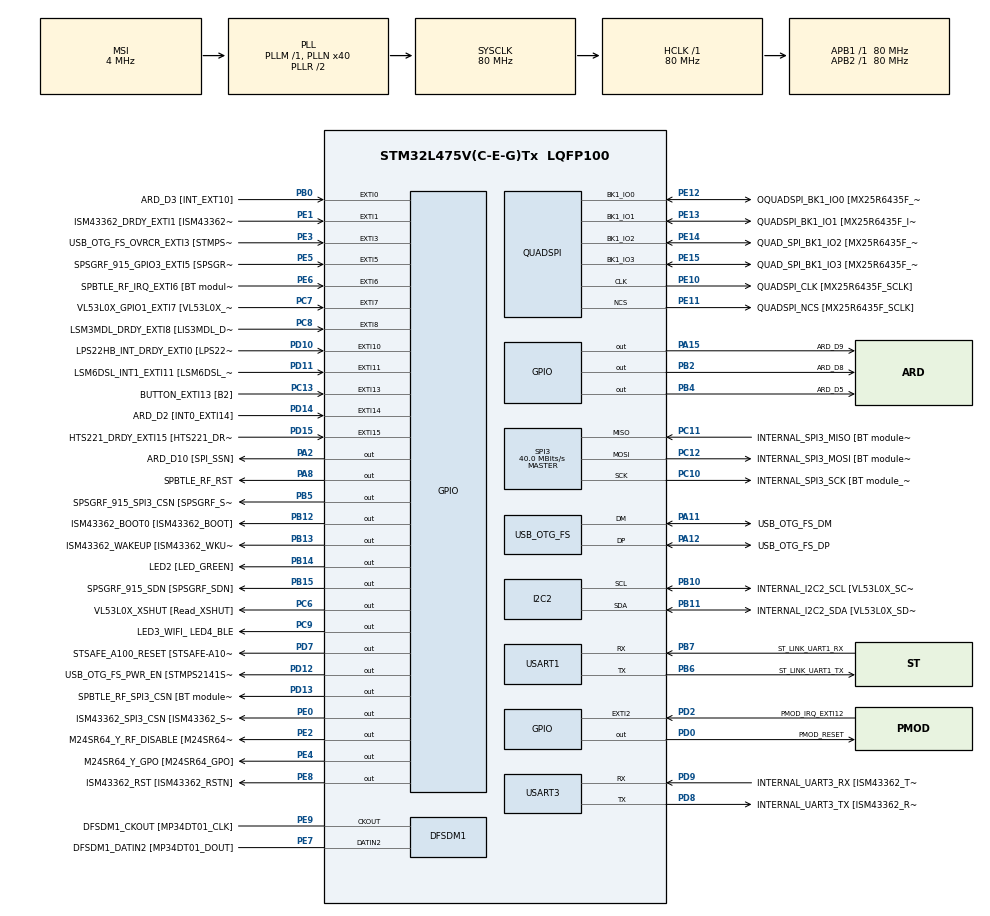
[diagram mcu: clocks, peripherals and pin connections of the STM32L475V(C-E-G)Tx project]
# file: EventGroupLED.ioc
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FREERTOS.Tasks01=defaultTask,-3,128,StartDefaultTask,Default,NULL,Dynamic,NULL,NULL;myTask02,-3,128,StartTask02,Default,NULL,Dynamic,NULL,NULL;myTask03,-3,128,StartTask03,Default,NULL,Dynamic,NULL,NULL
FREERTOS.configUSE_NEWLIB_REENTRANT=1
FREERTOS.configUSE_TIMERS=1
Mcu.Family=STM32L4
Mcu.Name=STM32L475V(C-E-G)Tx
Mcu.Package=LQFP100
NVIC.EXTI15_10_IRQn=true\:5\:0\:false\:false\:true\:true\:true\:true\:true
NVIC.EXTI9_5_IRQn=true\:5\:0\:false\:false\:true\:true\:true\:true\:true
NVIC.PriorityGroup=NVIC_PRIORITYGROUP_4
NVIC.TIM1_UP_TIM16_IRQn=true\:15\:0\:false\:false\:true\:false\:false\:true\:true
NVIC.TimeBase=TIM1_UP_TIM16_IRQn
NVIC.TimeBaseIP=TIM1
PA0.GPIO_Label=ARD_D1 [UART4_TX]
PA0.Signal=UART4_TX
PA1.GPIO_Label=ARD_D0 [UART4_RX]
PA1.Signal=UART4_RX
PA10.GPIO_Label=USB_OTG_FS_ID
PA10.Signal=USB_OTG_FS_ID
PA11.GPIO_Label=USB_OTG_FS_DM
PA11.Mode=Device_Only
PA11.Signal=USB_OTG_FS_DM
PA12.GPIO_Label=USB_OTG_FS_DP
PA12.Mode=Device_Only
PA12.Signal=USB_OTG_FS_DP
PA13\ (JTMS-SWDIO).GPIO_Label=SYS_JTMS_SWDIO
PA13\ (JTMS-SWDIO).Mode=Serial_Wire
PA13\ (JTMS-SWDIO).Signal=SYS_JTMS-SWDIO
PA14\ (JTCK-SWCLK).GPIO_Label=SYS_JTCK_SWCLK
PA14\ (JTCK-SWCLK).Mode=Serial_Wire
PA14\ (JTCK-SWCLK).Signal=SYS_JTCK-SWCLK
PA15\ (JTDI).GPIO_Label=ARD_D9
PA15\ (JTDI).Signal=GPIO_Output
PA2.GPIO_Label=ARD_D10 [SPI_SSN]
PA2.Signal=GPIO_Output
PA3.GPIO_Label=ARD_D4
PA3.Signal=S_TIM2_CH4
PA4.GPIO_Label=ARD_D7
PA4.Signal=ADCx_IN9
PA5.GPIO_Label=ARD_D13 [SPI1_SCK]
PA5.Signal=SPI1_SCK
PA6.GPIO_Label=ARD_D12 [SPI1_MISO]
PA6.Signal=SPI1_MISO
PA7.GPIO_Label=ARD_D11 [SPI1_MOSI]
PA7.Signal=SPI1_MOSI
PA8.GPIO_Label=SPBTLE_RF_RST
PA8.Signal=GPIO_Output
PA9.GPIO_Label=USB_OTG_FS_VBUS [STMPS2141STR_OUT]
PA9.Signal=USB_OTG_FS_VBUS
PB0.GPIO_Label=ARD_D3 [INT_EXT10]
PB0.Signal=GPXTI0
PB1.GPIO_Label=ARD_D6 [ADC1_IN6]
PB1.Signal=ADCx_IN16
PB10.GPIO_Label=INTERNAL_I2C2_SCL [VL53L0X_SCL]
PB10.GPIO_Pu=GPIO_PULLUP
PB10.Mode=I2C
PB10.Signal=I2C2_SCL
PB11.GPIO_Label=INTERNAL_I2C2_SDA [VL53L0X_SDA]
PB11.GPIO_Pu=GPIO_PULLUP
PB11.Mode=I2C
PB11.Signal=I2C2_SDA
PB12.GPIO_Label=ISM43362_BOOT0 [ISM43362_BOOT]
PB12.Signal=GPIO_Output
PB13.GPIO_Label=ISM43362_WAKEUP [ISM43362_WKUP]
PB13.Signal=GPIO_Output
PB14.GPIO_Label=LED2 [LED_GREEN]
PB14.Signal=GPIO_Output
PB15.GPIO_Label=SPSGRF_915_SDN [SPSGRF_SDN]
PB15.Signal=GPIO_Output
PB2.GPIO_Label=ARD_D8
PB2.Signal=GPIO_Output
PB3\ (JTDO-TRACESWO).GPIO_Label=SYS_JTD0_SWO
PB3\ (JTDO-TRACESWO).Signal=SYS_JTDO-SWO
PB4\ (NJTRST).GPIO_Label=ARD_D5
PB4\ (NJTRST).Signal=GPIO_Output
PB5.GPIO_Label=SPSGRF_915_SPI3_CSN [SPSGRF_SPI_CS]
PB5.PinState=GPIO_PIN_SET
PB5.Signal=GPIO_Output
PB6.GPIO_Label=ST_LINK_UART1_TX
PB6.Mode=Asynchronous
PB6.Signal=USART1_TX
PB7.GPIO_Label=ST_LINK_UART1_RX
PB7.Mode=Asynchronous
PB7.Signal=USART1_RX
PB8.GPIO_Label=ARD_D15 [I2C1_SCL]
PB8.Signal=I2C1_SCL
PB9.GPIO_Label=ARD_D14 [I2C1_SDA]
PB9.Signal=I2C1_SDA
PC0.GPIO_Label=ARD_A5 [ADC]
PC0.Signal=ADCx_IN1
PC1.GPIO_Label=ARD_A4 [ADC]
PC1.Signal=ADCx_IN2
PC10.GPIO_Label=INTERNAL_SPI3_SCK [BT module_SPI_SCLK] [ISM43362_SCK]
PC10.Mode=Full_Duplex_Master
PC10.Signal=SPI3_SCK
PC11.GPIO_Label=INTERNAL_SPI3_MISO [BT module_SPI_MISO] [ISM43362_MISO]
PC11.Mode=Full_Duplex_Master
PC11.Signal=SPI3_MISO
PC12.GPIO_Label=INTERNAL_SPI3_MOSI [BT module_SPI_MOSI] [ISM43362_MOSI]
PC12.Mode=Full_Duplex_Master
PC12.Signal=SPI3_MOSI
PC13.GPIO_Label=BUTTON_EXTI13 [B2]
PC13.GPIO_ModeDefaultEXTI=GPIO_MODE_IT_FALLING
PC13.Signal=GPXTI13
PC14-OSC32_IN\ (PC14).Mode=LSE-External-Oscillator
PC14-OSC32_IN\ (PC14).Signal=RCC_OSC32_IN
PC15-OSC32_OUT\ (PC15).Mode=LSE-External-Oscillator
PC15-OSC32_OUT\ (PC15).Signal=RCC_OSC32_OUT
PC2.GPIO_Label=ARD_A3 [ADC]
PC2.Signal=ADCx_IN3
PC3.GPIO_Label=ARD_A2 [ADC]
PC3.Signal=ADCx_IN4
PC4.GPIO_Label=ARD_A1 [ADC]
PC4.Signal=ADCx_IN13
PC5.GPIO_Label=ARD_A0 [ADC]
PC5.Signal=ADCx_IN14
PC6.GPIO_Label=VL53L0X_XSHUT [Read_XSHUT]
PC6.Signal=GPIO_Output
PC7.GPIO_Label=VL53L0X_GPIO1_EXTI7 [VL53L0X_GPIO1]
PC7.Signal=GPXTI7
PC8.GPIO_Label=LSM3MDL_DRDY_EXTI8 [LIS3MDL_DRDY]
PC8.Signal=GPXTI8
PC9.GPIO_Label=LED3_WIFI_ LED4_BLE
PC9.Signal=GPIO_Output
PD0.GPIO_Label=PMOD_RESET
PD0.Signal=GPIO_Output
PD1.GPIO_Label=PMOD_SPI2_SCK
PD1.Signal=SPI2_SCK
PD10.GPIO_Label=LPS22HB_INT_DRDY_EXTI0 [LPS22HB_INT_DRDY] 
PD10.Signal=GPXTI10
PD11.GPIO_Label=LSM6DSL_INT1_EXTI11 [LSM6DSL_INT1]
PD11.Signal=GPXTI11
PD12.GPIO_Label=USB_OTG_FS_PWR_EN [STMPS2141STR_EN]
PD12.Signal=GPIO_Output
PD13.GPIO_Label=SPBTLE_RF_SPI3_CSN [BT module_SPI_CS]
PD13.PinState=GPIO_PIN_SET
PD13.Signal=GPIO_Output
PD14.GPIO_Label=ARD_D2 [INT0_EXTI14]
PD14.Signal=GPXTI14
PD15.GPIO_Label=HTS221_DRDY_EXTI15 [HTS221_DRDY]
PD15.Signal=GPXTI15
PD2.GPIO_Label=PMOD_IRQ_EXTI12
PD2.Signal=GPXTI2
PD3.GPIO_Label=PMOD_UART2_CTS
PD3.Signal=USART2_CTS
PD4.GPIO_Label=PMOD_UART2_RTS
PD4.Signal=USART2_RTS
PD5.GPIO_Label=PMOD_UART2_TX
PD5.Signal=USART2_TX
PD6.GPIO_Label=PMOD_UART2_RX
PD6.Signal=USART2_RX
PD7.GPIO_Label=STSAFE_A100_RESET [STSAFE-A100_RESET]
PD7.Signal=GPIO_Output
PD8.GPIO_Label=INTERNAL_UART3_TX [ISM43362_RX]
PD8.Mode=Asynchronous
PD8.Signal=USART3_TX
PD9.GPIO_Label=INTERNAL_UART3_RX [ISM43362_TX]
PD9.Mode=Asynchronous
PD9.Signal=USART3_RX
PE0.GPIO_Label=ISM43362_SPI3_CSN [ISM43362_SSN]
PE0.PinState=GPIO_PIN_SET
PE0.Signal=GPIO_Output
PE1.GPIO_Label=ISM43362_DRDY_EXTI1 [ISM43362_DATARDY]
PE1.Signal=GPXTI1
PE10.GPIO_Label=QUADSPI_CLK [MX25R6435F_SCLK]
PE10.Mode=Single Bank
PE10.Signal=QUADSPI_CLK
PE11.GPIO_Label=QUADSPI_NCS [MX25R6435F_SCLK]
PE11.Mode=Single Bank
PE11.Signal=QUADSPI_NCS
PE12.GPIO_Label=OQUADSPI_BK1_IO0 [MX25R6435F_IO0]
PE12.Mode=Single Bank
PE12.Signal=QUADSPI_BK1_IO0
PE13.GPIO_Label=QUADSPI_BK1_IO1 [MX25R6435F_IO1]
PE13.Mode=Single Bank
PE13.Signal=QUADSPI_BK1_IO1
PE14.GPIO_Label=QUAD_SPI_BK1_IO2 [MX25R6435F_IO2]
PE14.Mode=Single Bank
PE14.Signal=QUADSPI_BK1_IO2
PE15.GPIO_Label=QUAD_SPI_BK1_IO3 [MX25R6435F_IO3]
PE15.Mode=Single Bank
PE15.Signal=QUADSPI_BK1_IO3
PE2.GPIO_Label=M24SR64_Y_RF_DISABLE [M24SR64_RFDIS]
PE2.Signal=GPIO_Output
PE3.GPIO_Label=USB_OTG_FS_OVRCR_EXTI3 [STMPS2141STR_FAULT]
PE3.Signal=GPXTI3
PE4.GPIO_Label=M24SR64_Y_GPO [M24SR64_GPO]
PE4.Signal=GPIO_Output
PE5.GPIO_Label=SPSGRF_915_GPIO3_EXTI5 [SPSGRF_GPIO_3]
PE5.Signal=GPXTI5
PE6.GPIO_Label=SPBTLE_RF_IRQ_EXTI6 [BT module_SPI_IRQ]
PE6.Signal=GPXTI6
PE7.GPIO_Label=DFSDM1_DATIN2 [MP34DT01_DOUT]
PE7.Signal=S_DATAIN2DFSDM1
PE8.GPIO_Label=ISM43362_RST [ISM43362_RSTN]
PE8.Signal=GPIO_Output
PE9.GPIO_Label=DFSDM1_CKOUT [MP34DT01_CLK]
PE9.Signal=S_CKOUTDFSDM1
ProjectManager.HeapSize=0x200
ProjectManager.StackSize=0x400
ProjectManager.TargetToolchain=STM32CubeIDE
QUADSPI.ClockPrescaler=2
QUADSPI.FifoThreshold=4
QUADSPI.FlashSize=23
QUADSPI.SampleShifting=QSPI_SAMPLE_SHIFTING_HALFCYCLE
RCC.ADCFreq_Value=48000000
RCC.AHBFreq_Value=80000000
RCC.APB1Freq_Value=80000000
RCC.APB1TimFreq_Value=80000000
RCC.APB2Freq_Value=80000000
RCC.APB2TimFreq_Value=80000000
RCC.CortexFreq_Value=80000000
RCC.HCLKFreq_Value=80000000
RCC.HSE_VALUE=8000000
RCC.HSI_VALUE=16000000
RCC.MSI_VALUE=4000000
RCC.PLLN=40
RCC.PLLSAI1N=24
RCC.SYSCLKFreq_VALUE=80000000
RCC.SYSCLKSource=RCC_SYSCLKSOURCE_PLLCLK
RCC.USBFreq_Value=48000000
RCC.VCOOutputFreq_Value=160000000
SH.ADCx_IN1.0=ADC1_IN1
SH.ADCx_IN13.0=ADC1_IN13
SH.ADCx_IN14.0=ADC1_IN14
SH.ADCx_IN16.0=ADC1_IN16
SH.ADCx_IN2.0=ADC1_IN2
SH.ADCx_IN3.0=ADC1_IN3
SH.ADCx_IN4.0=ADC1_IN4
SH.ADCx_IN9.0=ADC1_IN9
SH.S_CKOUTDFSDM1.0=DFSDM1_CKOUT,CKOUT
SH.S_CKOUTDFSDM1.1=DFSDM1_CKOUT,PDM_SPI_Input_from_ch12_and_Internal_Clock
SH.S_DATAIN2DFSDM1.0=DFSDM1_DATIN2,PDM_SPI_Input_from_ch12_and_Internal_Clock
SH.S_TIM2_CH4.0=TIM2_CH4
SPI3.CalculateBaudRate=40.0 MBits/s
SPI3.Direction=SPI_DIRECTION_2LINES
SPI3.Mode=SPI_MODE_MASTER
SPI3.VirtualType=VM_MASTER
USART1.VirtualMode-Asynchronous=VM_ASYNC
USART3.VirtualMode-Asynchronous=VM_ASYNC
USB_OTG_FS.VirtualMode=Device_Only
VP_FREERTOS_VS_CMSIS_V1.Mode=CMSIS_V1
VP_SYS_VS_tim1.Mode=TIM1
board=B-L475E-IOT01A2

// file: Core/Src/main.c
/* USER CODE BEGIN Header */
/**
  ******************************************************************************
  * @file           : main.c
  * @brief          : Main program body
  ******************************************************************************
  * @attention
  *
  * Copyright (c) 2023 STMicroelectronics.
  * All rights reserved.
  *
  * This software is licensed under terms that can be found in the LICENSE file
  * in the root directory of this software component.
  * If no LICENSE file comes with this software, it is provided AS-IS.
  *
  ******************************************************************************
  */
/* USER CODE END Header */
#include "main.h"
#include "cmsis_os.h"

DFSDM_Channel_HandleTypeDef hdfsdm1_channel1;

I2C_HandleTypeDef hi2c2;

QSPI_HandleTypeDef hqspi;

SPI_HandleTypeDef hspi3;

UART_HandleTypeDef huart1;
UART_HandleTypeDef huart3;

PCD_HandleTypeDef hpcd_USB_OTG_FS;

osThreadId defaultTaskHandle;
osThreadId myTask02Handle;
osThreadId myTask03Handle;
/* USER CODE BEGIN PV */
#define mainDEFAULT_BIT 	(1UL << 0UL)
#define mainTASK_BIT_1 		(1UL << 1UL)

EventGroupHandle_t	xEventGroup;
/* USER CODE END PV */

void SystemClock_Config(void);
static void MX_GPIO_Init(void);
static void MX_DFSDM1_Init(void);
static void MX_I2C2_Init(void);
static void MX_QUADSPI_Init(void);
static void MX_SPI3_Init(void);
static void MX_USART1_UART_Init(void);
static void MX_USART3_UART_Init(void);
static void MX_USB_OTG_FS_PCD_Init(void);
void StartDefaultTask(void const * argument);
void StartTask02(void const * argument);
void StartTask03(void const * argument);

int main(void)
{

  /* MCU Configuration--------------------------------------------------------*/

  /* Reset of all peripherals, Initializes the Flash interface and the Systick. */
  HAL_Init();

  /* Configure the system clock */
  SystemClock_Config();

  /* Initialize all configured peripherals */
  MX_GPIO_Init();
  MX_DFSDM1_Init();
  MX_I2C2_Init();
  MX_QUADSPI_Init();
  MX_SPI3_Init();
  MX_USART1_UART_Init();
  MX_USART3_UART_Init();
  MX_USB_OTG_FS_PCD_Init();
  /* USER CODE BEGIN 2 */
  xEventGroup = xEventGroupCreate();
  /* USER CODE END 2 */

  /* Create the thread(s) */
  /* definition and creation of defaultTask */
  osThreadDef(defaultTask, StartDefaultTask, osPriorityIdle, 0, 128);
  defaultTaskHandle = osThreadCreate(osThread(defaultTask), NULL);

  /* definition and creation of myTask02 */
  osThreadDef(myTask02, StartTask02, osPriorityIdle, 0, 128);
  myTask02Handle = osThreadCreate(osThread(myTask02), NULL);

  /* definition and creation of myTask03 */
  osThreadDef(myTask03, StartTask03, osPriorityIdle, 0, 128);
  myTask03Handle = osThreadCreate(osThread(myTask03), NULL);

  /* Start scheduler */
  osKernelStart();
  /* We should never get here as control is now taken by the scheduler */
  /* Infinite loop */
  while (1)
  {

  }
}

void SystemClock_Config(void)
{
  RCC_OscInitTypeDef RCC_OscInitStruct = {0};
  RCC_ClkInitTypeDef RCC_ClkInitStruct = {0};

  /** Configure the main internal regulator output voltage
  */
  if (HAL_PWREx_ControlVoltageScaling(PWR_REGULATOR_VOLTAGE_SCALE1) != HAL_OK)
  {
    Error_Handler();
  }

  /** Configure LSE Drive Capability
  */
  HAL_PWR_EnableBkUpAccess();
  __HAL_RCC_LSEDRIVE_CONFIG(RCC_LSEDRIVE_LOW);

  /** Initializes the RCC Oscillators according to the specified parameters
  * in the RCC_OscInitTypeDef structure.
  */
  RCC_OscInitStruct.OscillatorType = RCC_OSCILLATORTYPE_LSE|RCC_OSCILLATORTYPE_MSI;
  RCC_OscInitStruct.LSEState = RCC_LSE_ON;
  RCC_OscInitStruct.MSIState = RCC_MSI_ON;
  RCC_OscInitStruct.MSICalibrationValue = 0;
  RCC_OscInitStruct.MSIClockRange = RCC_MSIRANGE_6;
  RCC_OscInitStruct.PLL.PLLState = RCC_PLL_ON;
  RCC_OscInitStruct.PLL.PLLSource = RCC_PLLSOURCE_MSI;
  RCC_OscInitStruct.PLL.PLLM = 1;
  RCC_OscInitStruct.PLL.PLLN = 40;
  RCC_OscInitStruct.PLL.PLLP = RCC_PLLP_DIV7;
  RCC_OscInitStruct.PLL.PLLQ = RCC_PLLQ_DIV2;
  RCC_OscInitStruct.PLL.PLLR = RCC_PLLR_DIV2;
  if (HAL_RCC_OscConfig(&RCC_OscInitStruct) != HAL_OK)
  {
    Error_Handler();
  }

  /** Initializes the CPU, AHB and APB buses clocks
  */
  RCC_ClkInitStruct.ClockType = RCC_CLOCKTYPE_HCLK|RCC_CLOCKTYPE_SYSCLK
                              |RCC_CLOCKTYPE_PCLK1|RCC_CLOCKTYPE_PCLK2;
  RCC_ClkInitStruct.SYSCLKSource = RCC_SYSCLKSOURCE_PLLCLK;
  RCC_ClkInitStruct.AHBCLKDivider = RCC_SYSCLK_DIV1;
  RCC_ClkInitStruct.APB1CLKDivider = RCC_HCLK_DIV1;
  RCC_ClkInitStruct.APB2CLKDivider = RCC_HCLK_DIV1;

  if (HAL_RCC_ClockConfig(&RCC_ClkInitStruct, FLASH_LATENCY_4) != HAL_OK)
  {
    Error_Handler();
  }

  /** Enable MSI Auto calibration
  */
  HAL_RCCEx_EnableMSIPLLMode();
}

static void MX_DFSDM1_Init(void)
{

  hdfsdm1_channel1.Instance = DFSDM1_Channel1;
  hdfsdm1_channel1.Init.OutputClock.Activation = ENABLE;
  hdfsdm1_channel1.Init.OutputClock.Selection = DFSDM_CHANNEL_OUTPUT_CLOCK_SYSTEM;
  hdfsdm1_channel1.Init.OutputClock.Divider = 2;
  hdfsdm1_channel1.Init.Input.Multiplexer = DFSDM_CHANNEL_EXTERNAL_INPUTS;
  hdfsdm1_channel1.Init.Input.DataPacking = DFSDM_CHANNEL_STANDARD_MODE;
  hdfsdm1_channel1.Init.Input.Pins = DFSDM_CHANNEL_FOLLOWING_CHANNEL_PINS;
  hdfsdm1_channel1.Init.SerialInterface.Type = DFSDM_CHANNEL_SPI_RISING;
  hdfsdm1_channel1.Init.SerialInterface.SpiClock = DFSDM_CHANNEL_SPI_CLOCK_INTERNAL;
  hdfsdm1_channel1.Init.Awd.FilterOrder = DFSDM_CHANNEL_FASTSINC_ORDER;
  hdfsdm1_channel1.Init.Awd.Oversampling = 1;
  hdfsdm1_channel1.Init.Offset = 0;
  hdfsdm1_channel1.Init.RightBitShift = 0x00;
  if (HAL_DFSDM_ChannelInit(&hdfsdm1_channel1) != HAL_OK)
  {
    Error_Handler();
  }

}

static void MX_I2C2_Init(void)
{

  hi2c2.Instance = I2C2;
  hi2c2.Init.Timing = 0x00000E14;
  hi2c2.Init.OwnAddress1 = 0;
  hi2c2.Init.AddressingMode = I2C_ADDRESSINGMODE_7BIT;
  hi2c2.Init.DualAddressMode = I2C_DUALADDRESS_DISABLE;
  hi2c2.Init.OwnAddress2 = 0;
  hi2c2.Init.OwnAddress2Masks = I2C_OA2_NOMASK;
  hi2c2.Init.GeneralCallMode = I2C_GENERALCALL_DISABLE;
  hi2c2.Init.NoStretchMode = I2C_NOSTRETCH_DISABLE;
  if (HAL_I2C_Init(&hi2c2) != HAL_OK)
  {
    Error_Handler();
  }

  /** Configure Analogue filter
  */
  if (HAL_I2CEx_ConfigAnalogFilter(&hi2c2, I2C_ANALOGFILTER_ENABLE) != HAL_OK)
  {
    Error_Handler();
  }

  /** Configure Digital filter
  */
  if (HAL_I2CEx_ConfigDigitalFilter(&hi2c2, 0) != HAL_OK)
  {
    Error_Handler();
  }

}

static void MX_QUADSPI_Init(void)
{

  /* QUADSPI parameter configuration*/
  hqspi.Instance = QUADSPI;
  hqspi.Init.ClockPrescaler = 2;
  hqspi.Init.FifoThreshold = 4;
  hqspi.Init.SampleShifting = QSPI_SAMPLE_SHIFTING_HALFCYCLE;
  hqspi.Init.FlashSize = 23;
  hqspi.Init.ChipSelectHighTime = QSPI_CS_HIGH_TIME_1_CYCLE;
  hqspi.Init.ClockMode = QSPI_CLOCK_MODE_0;
  if (HAL_QSPI_Init(&hqspi) != HAL_OK)
  {
    Error_Handler();
  }

}

static void MX_SPI3_Init(void)
{

  /* SPI3 parameter configuration*/
  hspi3.Instance = SPI3;
  hspi3.Init.Mode = SPI_MODE_MASTER;
  hspi3.Init.Direction = SPI_DIRECTION_2LINES;
  hspi3.Init.DataSize = SPI_DATASIZE_4BIT;
  hspi3.Init.CLKPolarity = SPI_POLARITY_LOW;
  hspi3.Init.CLKPhase = SPI_PHASE_1EDGE;
  hspi3.Init.NSS = SPI_NSS_SOFT;
  hspi3.Init.BaudRatePrescaler = SPI_BAUDRATEPRESCALER_2;
  hspi3.Init.FirstBit = SPI_FIRSTBIT_MSB;
  hspi3.Init.TIMode = SPI_TIMODE_DISABLE;
  hspi3.Init.CRCCalculation = SPI_CRCCALCULATION_DISABLE;
  hspi3.Init.CRCPolynomial = 7;
  hspi3.Init.CRCLength = SPI_CRC_LENGTH_DATASIZE;
  hspi3.Init.NSSPMode = SPI_NSS_PULSE_ENABLE;
  if (HAL_SPI_Init(&hspi3) != HAL_OK)
  {
    Error_Handler();
  }

}

static void MX_USART1_UART_Init(void)
{

  huart1.Instance = USART1;
  huart1.Init.BaudRate = 115200;
  huart1.Init.WordLength = UART_WORDLENGTH_8B;
  huart1.Init.StopBits = UART_STOPBITS_1;
  huart1.Init.Parity = UART_PARITY_NONE;
  huart1.Init.Mode = UART_MODE_TX_RX;
  huart1.Init.HwFlowCtl = UART_HWCONTROL_NONE;
  huart1.Init.OverSampling = UART_OVERSAMPLING_16;
  huart1.Init.OneBitSampling = UART_ONE_BIT_SAMPLE_DISABLE;
  huart1.AdvancedInit.AdvFeatureInit = UART_ADVFEATURE_NO_INIT;
  if (HAL_UART_Init(&huart1) != HAL_OK)
  {
    Error_Handler();
  }

}

static void MX_USART3_UART_Init(void)
{

  huart3.Instance = USART3;
  huart3.Init.BaudRate = 115200;
  huart3.Init.WordLength = UART_WORDLENGTH_8B;
  huart3.Init.StopBits = UART_STOPBITS_1;
  huart3.Init.Parity = UART_PARITY_NONE;
  huart3.Init.Mode = UART_MODE_TX_RX;
  huart3.Init.HwFlowCtl = UART_HWCONTROL_NONE;
  huart3.Init.OverSampling = UART_OVERSAMPLING_16;
  huart3.Init.OneBitSampling = UART_ONE_BIT_SAMPLE_DISABLE;
  huart3.AdvancedInit.AdvFeatureInit = UART_ADVFEATURE_NO_INIT;
  if (HAL_UART_Init(&huart3) != HAL_OK)
  {
    Error_Handler();
  }

}

static void MX_USB_OTG_FS_PCD_Init(void)
{

  hpcd_USB_OTG_FS.Instance = USB_OTG_FS;
  hpcd_USB_OTG_FS.Init.dev_endpoints = 6;
  hpcd_USB_OTG_FS.Init.speed = PCD_SPEED_FULL;
  hpcd_USB_OTG_FS.Init.phy_itface = PCD_PHY_EMBEDDED;
  hpcd_USB_OTG_FS.Init.Sof_enable = DISABLE;
  hpcd_USB_OTG_FS.Init.low_power_enable = DISABLE;
  hpcd_USB_OTG_FS.Init.lpm_enable = DISABLE;
  hpcd_USB_OTG_FS.Init.battery_charging_enable = DISABLE;
  hpcd_USB_OTG_FS.Init.use_dedicated_ep1 = DISABLE;
  hpcd_USB_OTG_FS.Init.vbus_sensing_enable = DISABLE;
  if (HAL_PCD_Init(&hpcd_USB_OTG_FS) != HAL_OK)
  {
    Error_Handler();
  }

}

static void MX_GPIO_Init(void)
{
  GPIO_InitTypeDef GPIO_InitStruct = {0};

  /* GPIO Ports Clock Enable */
  __HAL_RCC_GPIOE_CLK_ENABLE();
  __HAL_RCC_GPIOC_CLK_ENABLE();
  __HAL_RCC_GPIOA_CLK_ENABLE();
  __HAL_RCC_GPIOB_CLK_ENABLE();
  __HAL_RCC_GPIOD_CLK_ENABLE();

  /*Configure GPIO pin Output Level */
  HAL_GPIO_WritePin(GPIOE, M24SR64_Y_RF_DISABLE_Pin|M24SR64_Y_GPO_Pin|ISM43362_RST_Pin, GPIO_PIN_RESET);

  /*Configure GPIO pin Output Level */
  HAL_GPIO_WritePin(GPIOA, ARD_D10_Pin|SPBTLE_RF_RST_Pin|ARD_D9_Pin, GPIO_PIN_RESET);

  /*Configure GPIO pin Output Level */
  HAL_GPIO_WritePin(GPIOB, ARD_D8_Pin|ISM43362_BOOT0_Pin|ISM43362_WAKEUP_Pin|LED2_Pin
                          |SPSGRF_915_SDN_Pin|ARD_D5_Pin, GPIO_PIN_RESET);

  /*Configure GPIO pin Output Level */
  HAL_GPIO_WritePin(GPIOD, USB_OTG_FS_PWR_EN_Pin|PMOD_RESET_Pin|STSAFE_A100_RESET_Pin, GPIO_PIN_RESET);

  /*Configure GPIO pin Output Level */
  HAL_GPIO_WritePin(SPBTLE_RF_SPI3_CSN_GPIO_Port, SPBTLE_RF_SPI3_CSN_Pin, GPIO_PIN_SET);

  /*Configure GPIO pin Output Level */
  HAL_GPIO_WritePin(GPIOC, VL53L0X_XSHUT_Pin|LED3_WIFI__LED4_BLE_Pin, GPIO_PIN_RESET);

  /*Configure GPIO pin Output Level */
  HAL_GPIO_WritePin(SPSGRF_915_SPI3_CSN_GPIO_Port, SPSGRF_915_SPI3_CSN_Pin, GPIO_PIN_SET);

  /*Configure GPIO pin Output Level */
  HAL_GPIO_WritePin(ISM43362_SPI3_CSN_GPIO_Port, ISM43362_SPI3_CSN_Pin, GPIO_PIN_SET);

  /*Configure GPIO pins : M24SR64_Y_RF_DISABLE_Pin M24SR64_Y_GPO_Pin ISM43362_RST_Pin ISM43362_SPI3_CSN_Pin */
  GPIO_InitStruct.Pin = M24SR64_Y_RF_DISABLE_Pin|M24SR64_Y_GPO_Pin|ISM43362_RST_Pin|ISM43362_SPI3_CSN_Pin;
  GPIO_InitStruct.Mode = GPIO_MODE_OUTPUT_PP;
  GPIO_InitStruct.Pull = GPIO_NOPULL;
  GPIO_InitStruct.Speed = GPIO_SPEED_FREQ_LOW;
  HAL_GPIO_Init(GPIOE, &GPIO_InitStruct);

  /*Configure GPIO pins : USB_OTG_FS_OVRCR_EXTI3_Pin SPSGRF_915_GPIO3_EXTI5_Pin SPBTLE_RF_IRQ_EXTI6_Pin ISM43362_DRDY_EXTI1_Pin */
  GPIO_InitStruct.Pin = USB_OTG_FS_OVRCR_EXTI3_Pin|SPSGRF_915_GPIO3_EXTI5_Pin|SPBTLE_RF_IRQ_EXTI6_Pin|ISM43362_DRDY_EXTI1_Pin;
  GPIO_InitStruct.Mode = GPIO_MODE_IT_RISING;
  GPIO_InitStruct.Pull = GPIO_NOPULL;
  HAL_GPIO_Init(GPIOE, &GPIO_InitStruct);

  /*Configure GPIO pin : BUTTON_EXTI13_Pin */
  GPIO_InitStruct.Pin = BUTTON_EXTI13_Pin;
  GPIO_InitStruct.Mode = GPIO_MODE_IT_FALLING;
  GPIO_InitStruct.Pull = GPIO_NOPULL;
  HAL_GPIO_Init(BUTTON_EXTI13_GPIO_Port, &GPIO_InitStruct);

  /*Configure GPIO pins : ARD_A5_Pin ARD_A4_Pin ARD_A3_Pin ARD_A2_Pin
                           ARD_A1_Pin ARD_A0_Pin */
  GPIO_InitStruct.Pin = ARD_A5_Pin|ARD_A4_Pin|ARD_A3_Pin|ARD_A2_Pin
                          |ARD_A1_Pin|ARD_A0_Pin;
  GPIO_InitStruct.Mode = GPIO_MODE_ANALOG_ADC_CONTROL;
  GPIO_InitStruct.Pull = GPIO_NOPULL;
  HAL_GPIO_Init(GPIOC, &GPIO_InitStruct);

  /*Configure GPIO pins : ARD_D1_Pin ARD_D0_Pin */
  GPIO_InitStruct.Pin = ARD_D1_Pin|ARD_D0_Pin;
  GPIO_InitStruct.Mode = GPIO_MODE_AF_PP;
  GPIO_InitStruct.Pull = GPIO_NOPULL;
  GPIO_InitStruct.Speed = GPIO_SPEED_FREQ_VERY_HIGH;
  GPIO_InitStruct.Alternate = GPIO_AF8_UART4;
  HAL_GPIO_Init(GPIOA, &GPIO_InitStruct);

  /*Configure GPIO pins : ARD_D10_Pin SPBTLE_RF_RST_Pin ARD_D9_Pin */
  GPIO_InitStruct.Pin = ARD_D10_Pin|SPBTLE_RF_RST_Pin|ARD_D9_Pin;
  GPIO_InitStruct.Mode = GPIO_MODE_OUTPUT_PP;
  GPIO_InitStruct.Pull = GPIO_NOPULL;
  GPIO_InitStruct.Speed = GPIO_SPEED_FREQ_LOW;
  HAL_GPIO_Init(GPIOA, &GPIO_InitStruct);

  /*Configure GPIO pin : ARD_D4_Pin */
  GPIO_InitStruct.Pin = ARD_D4_Pin;
  GPIO_InitStruct.Mode = GPIO_MODE_AF_PP;
  GPIO_InitStruct.Pull = GPIO_NOPULL;
  GPIO_InitStruct.Speed = GPIO_SPEED_FREQ_LOW;
  GPIO_InitStruct.Alternate = GPIO_AF1_TIM2;
  HAL_GPIO_Init(ARD_D4_GPIO_Port, &GPIO_InitStruct);

  /*Configure GPIO pin : ARD_D7_Pin */
  GPIO_InitStruct.Pin = ARD_D7_Pin;
  GPIO_InitStruct.Mode = GPIO_MODE_ANALOG_ADC_CONTROL;
  GPIO_InitStruct.Pull = GPIO_NOPULL;
  HAL_GPIO_Init(ARD_D7_GPIO_Port, &GPIO_InitStruct);

  /*Configure GPIO pins : ARD_D13_Pin ARD_D12_Pin ARD_D11_Pin */
  GPIO_InitStruct.Pin = ARD_D13_Pin|ARD_D12_Pin|ARD_D11_Pin;
  GPIO_InitStruct.Mode = GPIO_MODE_AF_PP;
  GPIO_InitStruct.Pull = GPIO_NOPULL;
  GPIO_InitStruct.Speed = GPIO_SPEED_FREQ_VERY_HIGH;
  GPIO_InitStruct.Alternate = GPIO_AF5_SPI1;
  HAL_GPIO_Init(GPIOA, &GPIO_InitStruct);

  /*Configure GPIO pin : ARD_D3_Pin */
  GPIO_InitStruct.Pin = ARD_D3_Pin;
  GPIO_InitStruct.Mode = GPIO_MODE_IT_RISING;
  GPIO_InitStruct.Pull = GPIO_NOPULL;
  HAL_GPIO_Init(ARD_D3_GPIO_Port, &GPIO_InitStruct);

  /*Configure GPIO pin : ARD_D6_Pin */
  GPIO_InitStruct.Pin = ARD_D6_Pin;
  GPIO_InitStruct.Mode = GPIO_MODE_ANALOG_ADC_CONTROL;
  GPIO_InitStruct.Pull = GPIO_NOPULL;
  HAL_GPIO_Init(ARD_D6_GPIO_Port, &GPIO_InitStruct);

  /*Configure GPIO pins : ARD_D8_Pin ISM43362_BOOT0_Pin ISM43362_WAKEUP_Pin LED2_Pin
                           SPSGRF_915_SDN_Pin ARD_D5_Pin SPSGRF_915_SPI3_CSN_Pin */
  GPIO_InitStruct.Pin = ARD_D8_Pin|ISM43362_BOOT0_Pin|ISM43362_WAKEUP_Pin|LED2_Pin
                          |SPSGRF_915_SDN_Pin|ARD_D5_Pin|SPSGRF_915_SPI3_CSN_Pin;
  GPIO_InitStruct.Mode = GPIO_MODE_OUTPUT_PP;
  GPIO_InitStruct.Pull = GPIO_NOPULL;
  GPIO_InitStruct.Speed = GPIO_SPEED_FREQ_LOW;
  HAL_GPIO_Init(GPIOB, &GPIO_InitStruct);

  /*Configure GPIO pins : LPS22HB_INT_DRDY_EXTI0_Pin LSM6DSL_INT1_EXTI11_Pin ARD_D2_Pin HTS221_DRDY_EXTI15_Pin
                           PMOD_IRQ_EXTI12_Pin */
  GPIO_InitStruct.Pin = LPS22HB_INT_DRDY_EXTI0_Pin|LSM6DSL_INT1_EXTI11_Pin|ARD_D2_Pin|HTS221_DRDY_EXTI15_Pin
                          |PMOD_IRQ_EXTI12_Pin;
  GPIO_InitStruct.Mode = GPIO_MODE_IT_RISING;
  GPIO_InitStruct.Pull = GPIO_NOPULL;
  HAL_GPIO_Init(GPIOD, &GPIO_InitStruct);

  /*Configure GPIO pins : USB_OTG_FS_PWR_EN_Pin SPBTLE_RF_SPI3_CSN_Pin PMOD_RESET_Pin STSAFE_A100_RESET_Pin */
  GPIO_InitStruct.Pin = USB_OTG_FS_PWR_EN_Pin|SPBTLE_RF_SPI3_CSN_Pin|PMOD_RESET_Pin|STSAFE_A100_RESET_Pin;
  GPIO_InitStruct.Mode = GPIO_MODE_OUTPUT_PP;
  GPIO_InitStruct.Pull = GPIO_NOPULL;
  GPIO_InitStruct.Speed = GPIO_SPEED_FREQ_LOW;
  HAL_GPIO_Init(GPIOD, &GPIO_InitStruct);

  /*Configure GPIO pins : VL53L0X_XSHUT_Pin LED3_WIFI__LED4_BLE_Pin */
  GPIO_InitStruct.Pin = VL53L0X_XSHUT_Pin|LED3_WIFI__LED4_BLE_Pin;
  GPIO_InitStruct.Mode = GPIO_MODE_OUTPUT_PP;
  GPIO_InitStruct.Pull = GPIO_NOPULL;
  GPIO_InitStruct.Speed = GPIO_SPEED_FREQ_LOW;
  HAL_GPIO_Init(GPIOC, &GPIO_InitStruct);

  /*Configure GPIO pins : VL53L0X_GPIO1_EXTI7_Pin LSM3MDL_DRDY_EXTI8_Pin */
  GPIO_InitStruct.Pin = VL53L0X_GPIO1_EXTI7_Pin|LSM3MDL_DRDY_EXTI8_Pin;
  GPIO_InitStruct.Mode = GPIO_MODE_IT_RISING;
  GPIO_InitStruct.Pull = GPIO_NOPULL;
  HAL_GPIO_Init(GPIOC, &GPIO_InitStruct);

  /*Configure GPIO pin : PMOD_SPI2_SCK_Pin */
  GPIO_InitStruct.Pin = PMOD_SPI2_SCK_Pin;
  GPIO_InitStruct.Mode = GPIO_MODE_AF_PP;
  GPIO_InitStruct.Pull = GPIO_NOPULL;
  GPIO_InitStruct.Speed = GPIO_SPEED_FREQ_VERY_HIGH;
  GPIO_InitStruct.Alternate = GPIO_AF5_SPI2;
  HAL_GPIO_Init(PMOD_SPI2_SCK_GPIO_Port, &GPIO_InitStruct);

  /*Configure GPIO pins : PMOD_UART2_CTS_Pin PMOD_UART2_RTS_Pin PMOD_UART2_TX_Pin PMOD_UART2_RX_Pin */
  GPIO_InitStruct.Pin = PMOD_UART2_CTS_Pin|PMOD_UART2_RTS_Pin|PMOD_UART2_TX_Pin|PMOD_UART2_RX_Pin;
  GPIO_InitStruct.Mode = GPIO_MODE_AF_PP;
  GPIO_InitStruct.Pull = GPIO_NOPULL;
  GPIO_InitStruct.Speed = GPIO_SPEED_FREQ_VERY_HIGH;
  GPIO_InitStruct.Alternate = GPIO_AF7_USART2;
  HAL_GPIO_Init(GPIOD, &GPIO_InitStruct);

  /*Configure GPIO pins : ARD_D15_Pin ARD_D14_Pin */
  GPIO_InitStruct.Pin = ARD_D15_Pin|ARD_D14_Pin;
  GPIO_InitStruct.Mode = GPIO_MODE_AF_OD;
  GPIO_InitStruct.Pull = GPIO_NOPULL;
  GPIO_InitStruct.Speed = GPIO_SPEED_FREQ_VERY_HIGH;
  GPIO_InitStruct.Alternate = GPIO_AF4_I2C1;
  HAL_GPIO_Init(GPIOB, &GPIO_InitStruct);

  /* EXTI interrupt init*/
  HAL_NVIC_SetPriority(EXTI9_5_IRQn, 5, 0);
  HAL_NVIC_EnableIRQ(EXTI9_5_IRQn);

  HAL_NVIC_SetPriority(EXTI15_10_IRQn, 5, 0);
  HAL_NVIC_EnableIRQ(EXTI15_10_IRQn);

}

void StartDefaultTask(void const * argument)
{
  /* USER CODE BEGIN 5 */
  /* Infinite loop */
  for(;;)
  {
    osDelay(1000);
    xEventGroupSetBits(xEventGroup, mainDEFAULT_BIT);
  }
  /* USER CODE END 5 */
}

void StartTask02(void const * argument)
{
  /* USER CODE BEGIN StartTask02 */
  /* Infinite loop */
  for(;;)
  {
	osDelay(3000);
	xEventGroupSetBits(xEventGroup, mainTASK_BIT_1);
  }
  /* USER CODE END StartTask02 */
}

void StartTask03(void const * argument)
{
  /* USER CODE BEGIN StartTask03 */
  /* Infinite loop */
  for(;;)
  {
	  xEventGroupWaitBits(xEventGroup,
			  	  	  	  mainDEFAULT_BIT | mainTASK_BIT_1,
						  pdTRUE,
						  pdTRUE,
						  portMAX_DELAY);
	  HAL_GPIO_WritePin(LED2_GPIO_Port, LED2_Pin, SET);
	  osDelay(1000);
	  HAL_GPIO_WritePin(LED2_GPIO_Port, LED2_Pin, RESET);
  }
  /* USER CODE END StartTask03 */
}

void HAL_TIM_PeriodElapsedCallback(TIM_HandleTypeDef *htim)
{
  if (htim->Instance == TIM1) {
    HAL_IncTick();
  }
}

void Error_Handler(void)
{
  __disable_irq();
  while (1)
  {
  }
}
